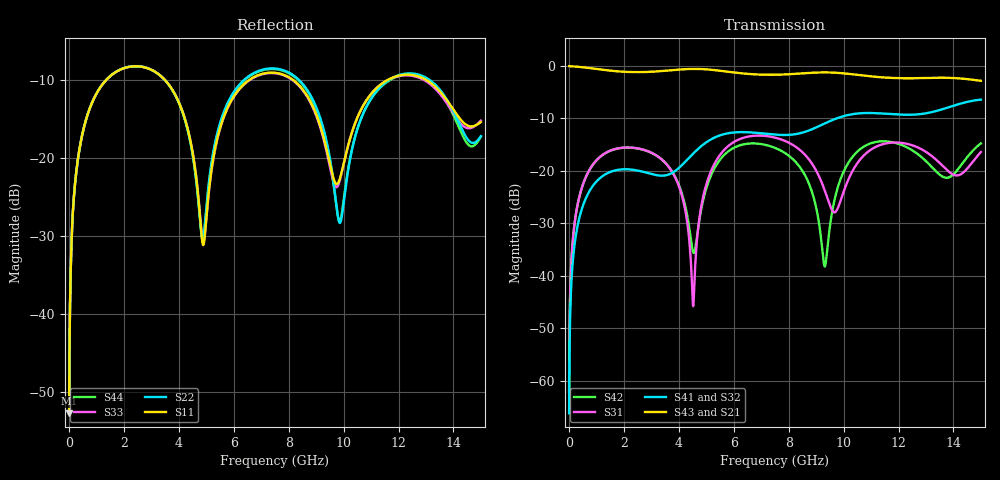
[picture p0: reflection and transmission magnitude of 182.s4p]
! Created with skrf 1.8.0 (http://scikit-rf.org).
# GHz S RI R 50.0
!freq ReS11 ImS11 ReS12 ImS12 ReS13 ImS13
! ReS14 ImS14
! ReS21 ImS21 ReS22 ImS22 ReS23 ImS23
! ReS24 ImS24
! ReS31 ImS31 ReS32 ImS32 ReS33 ImS33
! ReS34 ImS34
! ReS41 ImS41 ReS42 ImS42 ReS43 ImS43
! ReS44 ImS44
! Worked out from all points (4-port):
!   2499 points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, 5 MHz to 15 GHz, reference 50 ohm
!   strongest paths, dB at 5 MHz, 3.476 GHz, 7.19 GHz, 11.1 GHz, 15 GHz:
!     S43: 0.0, -0.9, -1.7, -2.0, -2.8
!     S21: 0.0, -0.9, -1.7, -2.0, -2.8
!     S41: -66.3, -20.9, -12.9, -9.0, -6.4
!     S32: -66.3, -20.9, -13.0, -9.0, -6.4
!     S31: -62.2, -18.3, -13.4, -15.6, -16.4
!     S42: -62.2, -18.3, -15.1, -14.6, -14.7
!   lowest |S11| = -52.8 dB at 5 MHz (marker M1), VSWR 1.00, Z = 50.2 + j0.139 ohm
!   |S11| at or under -10 dB: 3.496 GHz to 6.557 GHz (3.06 GHz wide, 60.9 % of centre); 8.169 GHz to 11.59 GHz (3.421 GHz wide, 34.6 % of centre); 13.02 GHz to end of sweep (the widest 3 of 4)
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0.005  0.00183 0.00139  0.9981 -0.00357  9.44e-05 0.000774  -9.13e-05 -0.000478
       0.9981 -0.00357  0.00183 0.00139  -9.13e-05 -0.000478  9.43e-05 0.000774
       9.44e-05 0.000774  -9.13e-05 -0.000478  0.00183 0.00139  0.9981 -0.00357
       -9.13e-05 -0.000478  9.43e-05 0.000774  0.9981 -0.00357  0.00183 0.00139
0.3126303  0.0291 0.0901  0.9601 -0.2208  0.0144 0.0453  -0.0118 -0.0275
           0.9601 -0.2208  0.0291 0.0901  -0.0118 -0.0275  0.0143 0.0453
           0.0144 0.0453  -0.0118 -0.0275  0.0291 0.0902  0.9601 -0.2208
           -0.0118 -0.0275  0.0143 0.0453  0.9601 -0.2208  0.0291 0.0901
1.419341  0.2755 0.1729  0.534 -0.7366  0.1388 0.0633  -0.0955 -0.00331
          0.534 -0.7366  0.276 0.1725  -0.0955 -0.00337  0.1378 0.0647
          0.1388 0.0633  -0.0955 -0.00337  0.2756 0.1729  0.534 -0.7366
          -0.0955 -0.00331  0.1378 0.0647  0.534 -0.7366  0.276 0.1726
4.520634  0.0483 -0.0913  -0.8906 -0.2998  0.00513 -0.000163  -0.0417 0.14
          -0.8906 -0.2998  0.0488 -0.0878  -0.0424 0.1398  -0.0157 -0.00602
          0.00513 -0.000163  -0.0424 0.1398  0.0494 -0.0924  -0.8903 -0.3002
          -0.0417 0.14  -0.0157 -0.00602  -0.8903 -0.3002  0.0486 -0.0892
6.002501  0.1902 0.1603  -0.6907 0.5271  0.1762 0.067  0.1785 0.1493
          -0.6907 0.5271  0.2084 0.1638  0.1773 0.1498  0.1326 0.0999
          0.1762 0.067  0.1773 0.1498  0.1901 0.1576  -0.6916 0.527
          0.1785 0.1493  0.1326 0.0999  -0.6916 0.527  0.2053 0.1629
9.897874  0.0711 0.0302  0.8523 0.0911  -0.0134 0.0509  0.0219 -0.3264
          0.8523 0.0911  0.0389 0.00478  0.0263 -0.326  0.0414 0.0737
          -0.0134 0.0509  0.0263 -0.326  0.0686 0.0326  0.8526 0.0891
          0.0219 -0.3264  0.0414 0.0737  0.8526 0.0891  0.0401 0.00729
15  0.1699 0.00979  -0.7216 -0.0637  0.0296 0.1485  -0.0157 0.4787
    -0.7216 -0.0637  0.1356 0.0261  -0.0232 0.4778  0.00247 0.1832
    0.0296 0.1485  -0.0232 0.4778  0.1722 0.0238  -0.7217 -0.0556
    -0.0157 0.4787  0.00247 0.1832  -0.7217 -0.0556  0.132 0.0376
